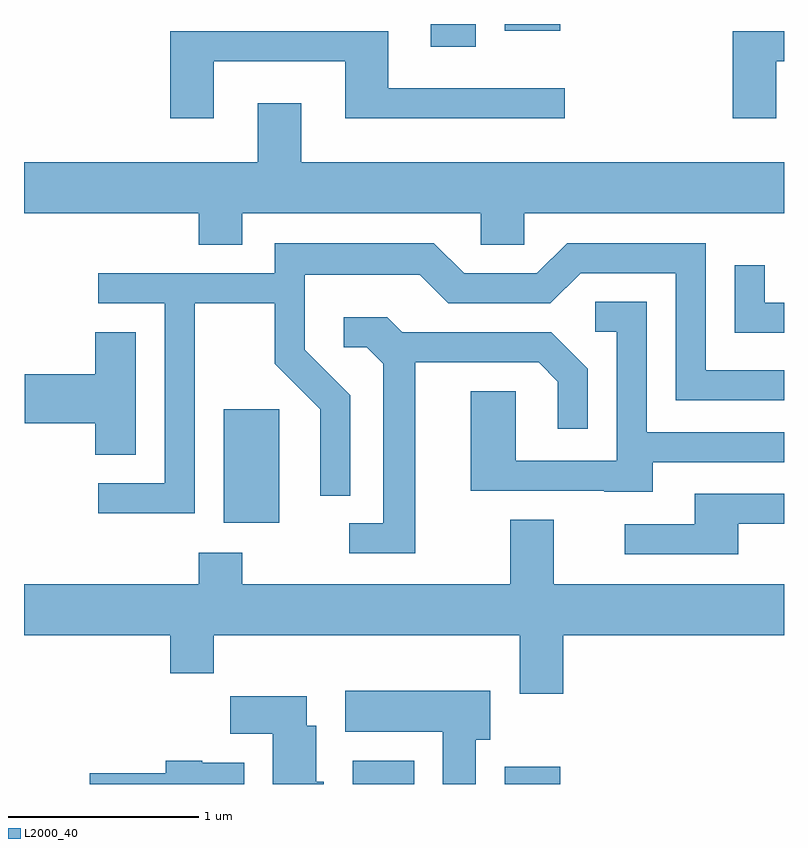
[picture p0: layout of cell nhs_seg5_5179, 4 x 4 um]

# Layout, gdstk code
import gdstk
lib = gdstk.Library(unit=1e-6, precision=1e-09)
def R(c, l, rs):  # rectangles x0, y0, x1, y1
    for r in rs: c.add(gdstk.rectangle(r[:2], r[2:], *l))
def P(c, l, *ps):  # polygons
    for p in ps: c.add(gdstk.Polygon(p, *l))
L2000_40 = (2000, 40)

nhs_seg5_5179 = lib.new_cell('nhs_seg5_5179')
R(nhs_seg5_5179, L2000_40, [(341.341,1396.072,341.664,1396.194), (342.141,1396.072,342.434,1396.164), (340.661,1397.446,340.954,1398.044), (341.753,1399.951,341.989,1400.072), (342.141,1400.036,342.434,1400.072)])
P(nhs_seg5_5179, L2000_40, [(340.609,1399.876),(341.301,1399.876),(341.301,1399.576),(342.458,1399.576),(342.458,1399.734),(341.529,1399.734),(341.529,1400.034),(340.381,1400.034),(340.381,1399.576),(340.609,1399.576)],
  [(343.569,1399.876),(343.611,1399.876),(343.611,1400.034),(343.341,1400.034),(343.341,1399.576),(343.569,1399.576)],
  [(340.759,1399.076),(342.016,1399.076),(342.016,1398.911),(342.244,1398.911),(342.244,1399.076),(343.611,1399.076),(343.611,1399.344),(341.069,1399.344),(341.069,1399.654),(340.841,1399.654),(340.841,1399.344),(339.611,1399.344),(339.611,1399.076),(340.531,1399.076),(340.531,1398.911),(340.759,1398.911)],
  [(340.509,1398.601),(340.931,1398.601),(340.931,1398.284),(341.171,1398.044),(341.171,1397.588),(341.329,1397.588),(341.329,1398.117),(341.089,1398.357),(341.089,1398.751),(341.694,1398.751),(341.844,1398.601),(342.382,1398.601),(342.542,1398.761),(343.041,1398.761),(343.041,1398.091),(343.611,1398.091),(343.611,1398.249),(343.199,1398.249),(343.199,1398.919),(342.469,1398.919),(342.309,1398.759),(341.927,1398.759),(341.767,1398.919),(340.931,1398.919),(340.931,1398.759),(340.003,1398.759),(340.003,1398.601),(340.351,1398.601),(340.351,1397.654),(340.003,1397.654),(340.003,1397.496),(340.509,1397.496)],
  [(343.611,1398.604),(343.509,1398.604),(343.509,1398.803),(343.351,1398.803),(343.351,1398.446),(343.611,1398.446)],
  [(342.919,1397.766),(343.611,1397.766),(343.611,1397.924),(342.889,1397.924),(342.889,1398.609),(342.618,1398.609),(342.618,1398.451),(342.731,1398.451),(342.731,1397.774),(342.199,1397.774),(342.199,1398.139),(341.961,1398.139),(341.961,1397.616),(342.665,1397.616),(342.665,1397.611),(342.919,1397.611)],
  [(341.669,1398.291),(342.319,1398.291),(342.421,1398.189),(342.421,1397.943),(342.579,1397.943),(342.579,1398.257),(342.387,1398.449),(341.602,1398.449),(341.522,1398.529),(341.293,1398.529),(341.293,1398.371),(341.414,1398.371),(341.501,1398.284),(341.501,1397.444),(341.323,1397.444),(341.323,1397.286),(341.669,1397.286)],
  [(340.199,1398.449),(339.986,1398.449),(339.986,1398.229),(339.616,1398.229),(339.616,1397.971),(339.986,1397.971),(339.986,1397.806),(340.199,1397.806)],
  [(343.369,1397.441),(343.611,1397.441),(343.611,1397.599),(343.141,1397.599),(343.141,1397.439),(342.773,1397.439),(342.773,1397.281),(343.369,1397.281)],
  [(342.449,1396.856),(343.611,1396.856),(343.611,1397.124),(342.399,1397.124),(342.399,1397.464),(342.171,1397.464),(342.171,1397.124),(340.759,1397.124),(340.759,1397.289),(340.531,1397.289),(340.531,1397.124),(339.611,1397.124),(339.611,1396.856),(340.381,1396.856),(340.381,1396.656),(340.609,1396.656),(340.609,1396.856),(342.221,1396.856),(342.221,1396.546),(342.449,1396.546)],
  [(341.989,1396.306),(342.064,1396.306),(342.064,1396.564),(341.301,1396.564),(341.301,1396.346),(341.816,1396.346),(341.816,1396.072),(341.989,1396.072)],
  [(341.189,1396.084),(341.149,1396.084),(341.149,1396.379),(341.099,1396.379),(341.099,1396.534),(340.696,1396.534),(340.696,1396.336),(340.921,1396.336),(340.921,1396.072),(341.189,1396.072)],
  [(340.769,1396.184),(340.55,1396.184),(340.55,1396.194),(340.356,1396.194),(340.356,1396.129),(339.956,1396.129),(339.956,1396.072),(340.769,1396.072)])

lib.write_gds('nhs_seg5_5179.gds')
